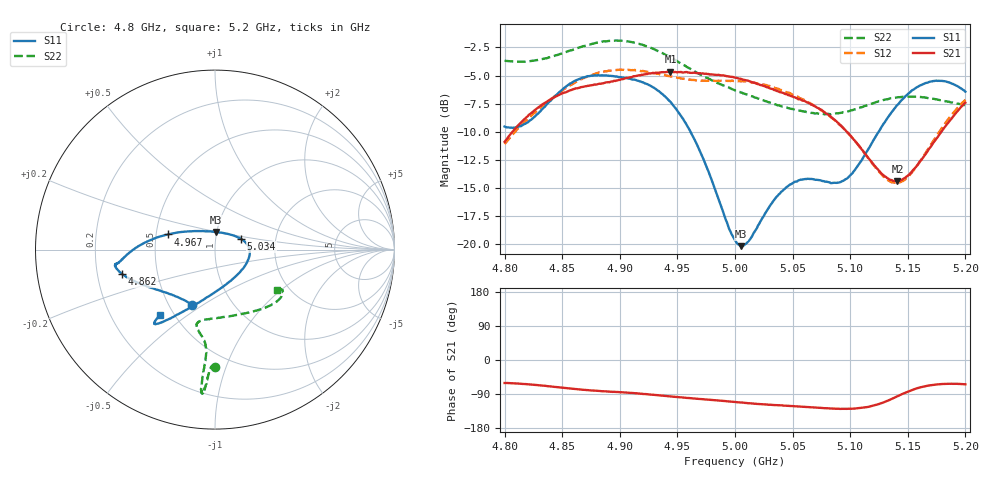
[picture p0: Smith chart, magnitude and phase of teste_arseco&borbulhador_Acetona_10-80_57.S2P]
! Network Analyzer HP8722D
! Hewlett-Packard
! Data name: Linha & Wilkinson
! Saver's name: Rodrigo Anjos
! Comments: Teste da utilização de aquisição
! continua pelo VNA HP8722D
! Time and date: 17/4/2025 14:50
!  Frequency  S11  S21  S12  S22
# HZ  S  MA R 50
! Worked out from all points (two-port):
!   401 points, 4.8 GHz to 5.2 GHz, reference 50 ohm
!   highest |S21| = -4.66 dB at 4.944 GHz (marker M1); lowest = -14.4 dB at 5.141 GHz (marker M2)
!   |S21| within 3 dB of the highest: 4.831 GHz to 5.068 GHz (236.4 MHz wide, 4.78 % of centre); 5.197624 GHz to end of sweep
!   lowest |S11| = -20.2 dB at 5.005 GHz (marker M3), VSWR 1.22, Z = 49.7 + j9.8 ohm
!   |S11| at or under -10 dB: 4.961 GHz to 5.125 GHz (163.3 MHz wide, 3.24 % of centre)
!   |S22| runs from -8.4 to -1.9 dB; largest |S21 - S12| = 0.87
!   S11 on the Smith chart (normalised r, x): 4.8 GHz: 0.65, -0.45; 4.862 GHz: 0.31, -0.12; 4.967 GHz: 0.58, +0.11; 5.034 GHz: 1.33, +0.16; 5.2 GHz: 0.42, -0.40
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4.8e9  0.3335 -112.9  0.2852 -60.7  0.2789 -174.9  0.6558 -89.9
4.819e9  0.3459 -132.9  0.3673 -63.7  0.3554 -173.3  0.6504 -91.5
4.862e9  0.5354 -165.3  0.4936 -76.7  0.5263 -176.5  0.7419 -93.7
4.867e9  0.5481 -167.3  0.4997 -78.3  0.5418 -177.5  0.7557 -93.8
4.902e9  0.5509 -172.0  0.5417 -85.2  0.5964 175.4  0.8024 -95.3
4.934e9  0.4789 -177.9  0.5792 -93.1  0.5716 172.1  0.718 -95.6
4.944e9  0.4292 177.6  0.5845 -96.2  0.557 172.1  0.6768 -95.4
4.967e9  0.2772 162.2  0.5766 -102.1  0.534 174.0  0.5783 -94.9
5e9  0.1042 103.4  0.551 -110.9  0.5319 176.4  0.4832 -99.2
5.005e9  0.09793 86.2  0.5438 -112.2  0.5291 176.4  0.4721 -100.3
5.013e9  0.1049 60.5  0.5294 -114.3  0.5259 176.0  0.4575 -101.8
5.034e9  0.1572 22.3  0.4844 -118.9  0.4971 175.2  0.42 -103.5
5.05e9  0.1868 5.7  0.454 -121.7  0.4627 174.2  0.3992 -99.8
5.067e9  0.1948 -12.4  0.4165 -124.9  0.4184 173.8  0.3835 -91.1
5.085e9  0.1872 -40.5  0.3616 -128.3  0.3611 173.8  0.3806 -77.6
5.097e9  0.1955 -65.1  0.3164 -128.9  0.3158 174.3  0.3883 -67.6
5.108e9  0.2283 -86.4  0.2724 -126.9  0.2715 177.2  0.4035 -58.8
5.134e9  0.3737 -115.8  0.1939 -105.6  0.1908 -158.4  0.4441 -42.9
5.141e9  0.4157 -119.8  0.1905 -95.6  0.1877 -147.3  0.4496 -39.9
5.153e9  0.4799 -124.7  0.2087 -79.9  0.2065 -129.1  0.4532 -35.6
5.171e9  0.5297 -128.6  0.2764 -66.1  0.2817 -112.0  0.4436 -31.5
5.2e9  0.4768 -130.2  0.4259 -64.1  0.4389 -106.2  0.4148 -33.1
